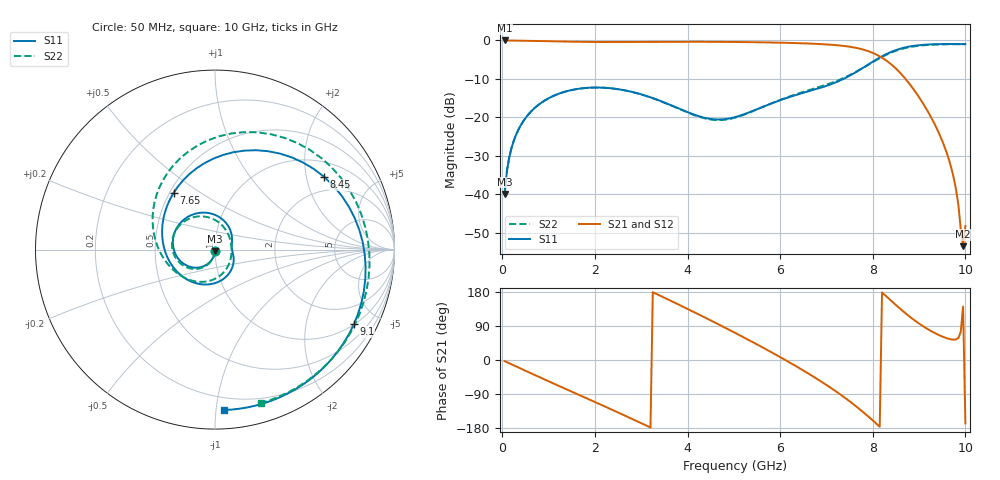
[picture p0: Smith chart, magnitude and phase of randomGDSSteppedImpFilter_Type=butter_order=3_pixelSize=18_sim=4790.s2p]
! freq	dB(S11)	phase(S11)	dB(S12)	phase(S12)
!  dB(S21)	phase(S21)	dB(S22)	phase(S22)
!S-par simulation data
#  GHz  S  DB  R 50
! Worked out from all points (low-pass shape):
!   200 points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, 50 MHz to 10 GHz, reference 50 ohm
!   highest |S21| = -0.01 dB at 50 MHz (marker M1); lowest = -53.4 dB at 9.95 GHz (marker M2)
!   |S21| within 3 dB of the highest: start of sweep to 7.952 GHz
!   lowest |S11| = -39.9 dB at 50 MHz (marker M3), VSWR 1.02, Z = 49.9 - j1.01 ohm
!   |S11| at or under -10 dB: start of sweep to 7.367 GHz
!   |S22| runs from -39.9 to -1.0 dB; largest |S21 - S12| = 0
!   S11 on the Smith chart (normalised r, x): 50 MHz: 1.00, -0.02; 7.65 GHz: 0.52, +0.39; 8.45 GHz: 1.47, +2.55; 9.1 GHz: 1.03, -3.72; 10 GHz: 0.12, -1.05
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0.05  -39.90 -92.6  -0.01 -2.9  -0.01 -2.9  -39.89 -92.4
0.2  -27.90 -101.9  -0.03 -11.4  -0.03 -11.4  -27.89 -101.0
0.5  -20.18 -119.8  -0.08 -28.3  -0.08 -28.3  -20.18 -117.5
1.15  -14.17 -157.8  -0.25 -64.5  -0.25 -64.5  -14.17 -152.3
1.75  -12.40 167.7  -0.37 -97.3  -0.37 -97.3  -12.41 176.4
2.65  -12.97 115.3  -0.40 -146.9  -0.40 -146.9  -12.98 129.8
3.4  -15.65 70.5  -0.36 170.2  -0.36 170.2  -15.69 89.3
4.3  -19.88 21.7  -0.35 116.7  -0.35 116.7  -20.02 31.5
5.05  -19.84 -11.4  -0.40 70.2  -0.40 70.2  -19.98 -28.7
5.95  -15.75 -67.7  -0.56 11.1  -0.56 11.1  -15.68 -91.3
6.7  -12.92 -131.1  -0.85 -42.5  -0.85 -42.5  -12.63 -138.9
7.2  -10.90 177.4  -1.21 -82.4  -1.21 -82.4  -10.60 -172.5
7.65  -8.14 126.0  -1.96 -123.3  -1.96 -123.3  -8.06 151.5
8  -5.52 85.1  -3.24 -159.5  -3.24 -159.5  -5.63 116.4
8.35  -3.23 44.8  -5.74 161.6  -5.74 161.6  -3.42 76.0
8.45  -2.73 33.7  -6.75 150.5  -6.75 150.5  -2.92 64.1
8.8  -1.56 -2.1  -11.39 114.1  -11.39 114.1  -1.73 24.1
9.1  -1.13 -28.1  -16.65 88.1  -16.65 88.1  -1.25 -6.0
9.7  -0.93 -69.6  -33.30 54.3  -33.30 54.3  -0.98 -54.0
9.8  -0.93 -75.6  -38.85 54.4  -38.85 54.4  -0.98 -60.7
9.95  -0.95 -84.1  -53.44 141.1  -53.44 141.1  -0.98 -70.3
10  -0.96 -86.9  -48.19 -167.4  -48.19 -167.4  -0.99 -73.4
